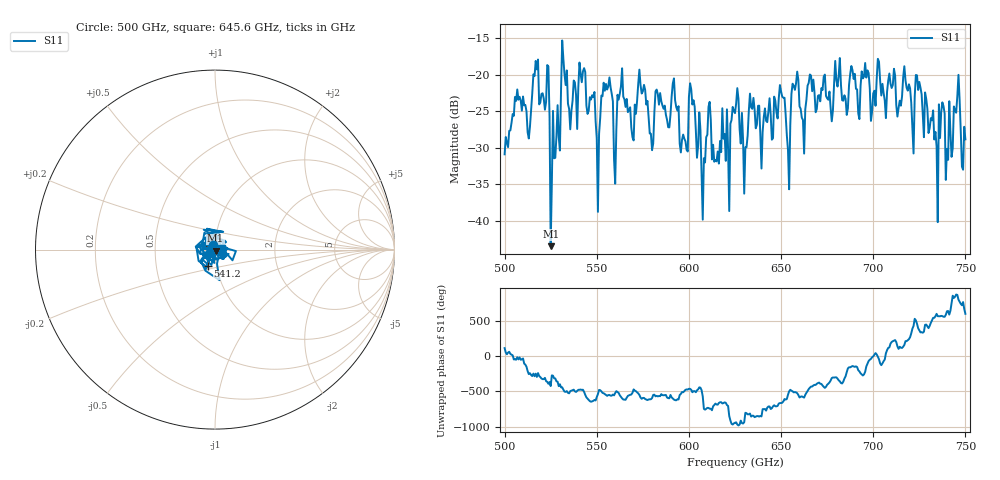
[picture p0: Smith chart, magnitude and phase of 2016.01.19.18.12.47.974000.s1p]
!Created with skrf (http://scikit-rf.org).
# GHz S RI R 50.0
!freq ReS11 ImS11
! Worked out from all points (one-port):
!   401 points, 500 GHz to 750 GHz, reference 50 ohm
!   lowest |S11| = -43.5 dB at 525 GHz (marker M1), VSWR 1.01, Z = 50.3 - j0.606 ohm
!   |S11| at or under -10 dB: start of sweep to end of sweep
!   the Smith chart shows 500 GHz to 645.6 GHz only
!   S11 on the Smith chart (normalised r, x): 500 GHz: 0.98, +0.05; 541.2 GHz: 0.91, -0.17; 645.6 GHz: 1.08, +0.01
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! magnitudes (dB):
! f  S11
! 500 GHz  -30.9
! 506.9 GHz  -22.0
! 513.1 GHz  -28.7
! 516.9 GHz  -18.1
! 525 GHz  -43.5
! 526.2 GHz  -24.9
! 531.2 GHz  -15.3
! 541.2 GHz  -19.9
! 550.6 GHz  -38.8
! 553.8 GHz  -21.1
! 560 GHz  -34.9
! 562.5 GHz  -22.6
! 593.8 GHz  -24.9
! 598.1 GHz  -29.1
! 601.9 GHz  -24.1
! 608.1 GHz  -31.4
! 610.6 GHz  -24.4
! 615 GHz  -31.9
! 625 GHz  -25.2
! 630.6 GHz  -29.9
! 633.8 GHz  -24.5
! 645.6 GHz  -28.7
! 650.6 GHz  -23.0
! 653.8 GHz  -30.3
! 656.2 GHz  -21.2
! 687.5 GHz  -19.9
! 718.8 GHz  -22.2
! 750 GHz  -28.8
